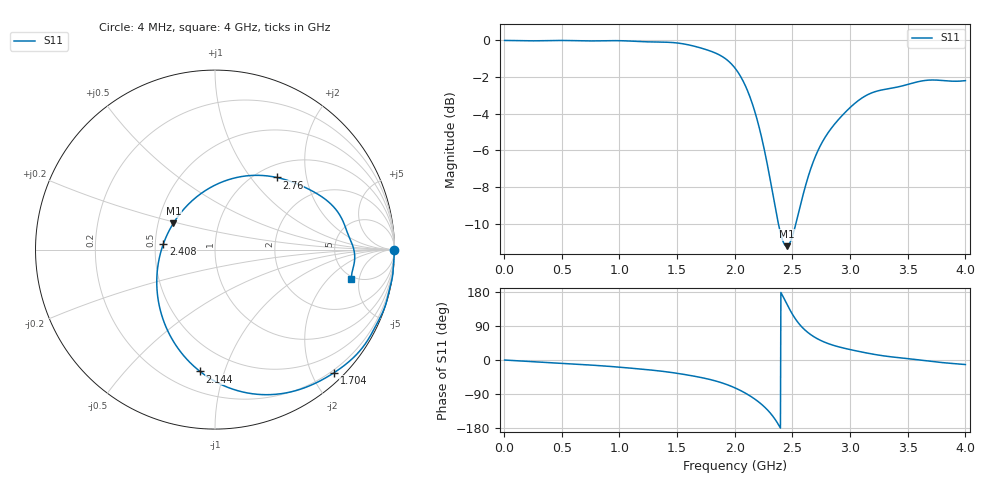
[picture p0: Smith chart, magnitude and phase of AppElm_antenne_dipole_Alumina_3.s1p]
! TOUCHSTONE file generated by CST MICROWAVE STUDIO
! Date and time: Sat May 14 11:21:36 2022
! Project name: AppElm_antenne_dipole_Alumina.cst
! Parameters = {L=33; e=0.035; f=2.45e+09; h=1.6; i=0.8; l1=2; lambda=122.449; ls=30; wl=1.7; ws=68}
! Header version: 2018
! Port assignment regex: !\s*Touchstone port\s*([0-9]+)\s*=\s*(CST MWS port|CST DS port)\s*([0-9]+|Zmin|Zmax)\s*\(\"(.*)\"\)(\s*mode\s*([0-9]+))?.*
! Touchstone port assignment:
! Touchstone port 1 = CST MWS port 1 ("")
# GHz S MA R 50
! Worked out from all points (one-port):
!   1000 points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, 4 MHz to 4 GHz, reference 50 ohm
!   lowest |S11| = -11.2 dB at 2.452 GHz (marker M1), VSWR 1.76, Z = 30 + j9.56 ohm
!   |S11| at or under -10 dB: 2.378 GHz to 2.53 GHz (151.5 MHz wide, 6.17 % of centre)
!   S11 on the Smith chart (normalised r, x): 4 MHz: open; 1.704 GHz: 0.15, -2.35; 2.144 GHz: 0.33, -0.83; 2.408 GHz: 0.55, +0.04; 2.76 GHz: 1.22, +1.36; 4 GHz: 4.74, -3.86
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0.004  1 -0.1
0.504  1 -8.7
1.004  0.9985 -19.1
1.324  0.9902 -28.1
1.504  0.984 -35.3
1.704  0.9541 -46.0
1.788  0.9358 -51.7
1.864  0.914 -58.0
1.932  0.8853 -64.9
2.004  0.839 -73.9
2.076  0.7707 -84.7
2.144  0.684 -97.0
2.22  0.5651 -113.8
2.284  0.4559 -131.9
2.344  0.3602 -154.1
2.408  0.2893 173.7
2.452  0.2746 147.6
2.504  0.2952 118.7
2.56  0.3455 94.7
2.62  0.4081 76.1
2.684  0.4696 61.8
2.76  0.5288 49.5
2.864  0.5903 37.9
3.004  0.6577 27.3
3.208  0.7233 14.9
3.504  0.7592 3.5
3.688  0.7796 -3.1
4  0.7769 -12.0
